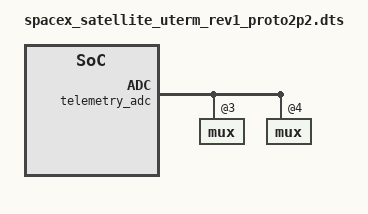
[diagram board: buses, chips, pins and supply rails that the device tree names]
/*
 * Copyright (C) 2018 STMicroelectronics (R&D) Limited.
 * Author: Nicolas Toromanoff <nicolas.toromanoff@st.com>
 *
 * This program is free software; you can redistribute it and/or modify
 * it under the terms of the GNU General Public License version 2 as
 * published by the Free Software Foundation.
 */

/dts-v1/;
#include "spacex_satellite_uterm_cut2.dtsi"
#include "spacex_satellite_uterm_production.dtsi"
#include "spacex_satellite_uterm_imu_spi2.dtsi"

/ {
	gpios {
		/*
		 * GPS.
		 */
		gps_boot      = <&pio10 4 1>; /* 0=UART, 1=SPI  */
		gps_reset     = <&pio11 7 1>; /* 0=reset, 1=run */

		/*
		 * Reset.
		 */
		self_reset = <&pio21 5 1>;   /* 0=reset*/

		/*
		 * STSAFE reset, active low.
		 */
		stsafe_reset = <&pio21 6 0>;

		/*
		 * Watchdog disable.  1 = disabled
		 */
		watchdog_disable = <&pio31 0 0>;

		/*
		 * Watchdog toggle.  There is a pull-down resistor so a default
		 * value of 0 doesn't count as the first toggle.
		 */
		watchdog_toggle = <&pio31 1 0>;

		/*
		 * Actuator Control. Motors are swapped on Proto 2s.
		 */
		motor1_nsleep = <&pio20 7 0>; /* 0=sleep_mode */
		motor1_ph     = <&pio20 6 0>; /* 0=reverse, 1=fwd */
		motor1_nfault = <&pio20 3>;   /* 0=at_fault */

		motor2_nsleep = <&pio20 0 0>; /* 0=sleep_mode */
		motor2_ph     = <&pio20 5 0>; /* 0=reverse, 1=fwd */
		motor2_nfault = <&pio22 2>;   /* 0=at_fault */
	};

	pwms {
		/*
		 * Adaptive voltage scaling.
		 */
		avs_core      = <&pwm0 0>;
		avs_cpu       = <&pwm0 1>;

		/*
		 * Actuator control motors. Motors are swapped on Proto 2s.
		 */
		motor1        = <&pwm0 3>;
		motor2        = <&pwm0 2>;
	};

	soc {
		/*
		 * ADC temp sensors, voltage, and current monitors.
		 *
		 * Proto1 has 2 muxes on channels 3 and 4.
		 */
		telemetry_adc: sti_adc@8900000 {
			use-external = <0 0 0 0 0 0 0 1>;

			mux-gpio = <&pio12 4 0>,
				   <&pio12 6 0>,
				   <&pio12 7 0>;

			mux@3 {
				input-channel = <3>;
				vchan-count = <8>;
			};
			mux@4 {
				input-channel = <4>;
				vchan-count = <8>;
			};
		};
	};
};
